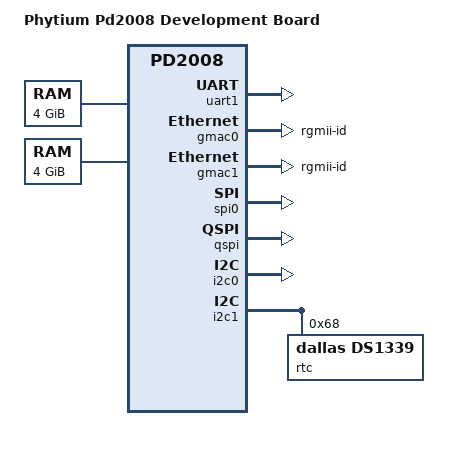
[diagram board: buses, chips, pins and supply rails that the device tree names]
// SPDX-License-Identifier: GPL-2.0
/*
 * DTS file for Phytium Pd2008 Development Board
 *
 * Copyright (c) 2020-2024 Phytium Technology Co., Ltd.
 */

/dts-v1/;
/memreserve/ 0x80000000 0x10000;

#include "pd2008-generic-psci-soc.dtsi"

/{
	model = "Phytium Pd2008 Development Board";
	compatible = "phytium,pd2008-devboard", "phytium,pd2008";
	#address-cells = <2>;
	#size-cells = <2>;

	chosen {
		stdout-path = "uart1:115200n8";
	};

	memory@00{
		device_type = "memory";
		reg = <0x0 0x80000000 0x1 0x00000000>;
	};

	memory@01{
		device_type = "memory";
		reg = <0x20 0x00000000 0x1 0x00000000>;
	};
};

&uart1 {
	status = "ok";
};

&gmac0 {
	status = "ok";
	phy-mode = "rgmii-id";
};

&gmac1 {
	status = "ok";
	phy-mode = "rgmii-id";
};

&spi0 {
	status = "ok";
};

&qspi {
	status = "ok";
};

&i2c0 {
	status = "ok";
};

&i2c1 {
	status = "ok";
	#address-cells = <1>;
	#size-cells = <0>;

	rtc@68 {
		compatible = "dallas,ds1339";
		reg = <0x68>;
	};
};
